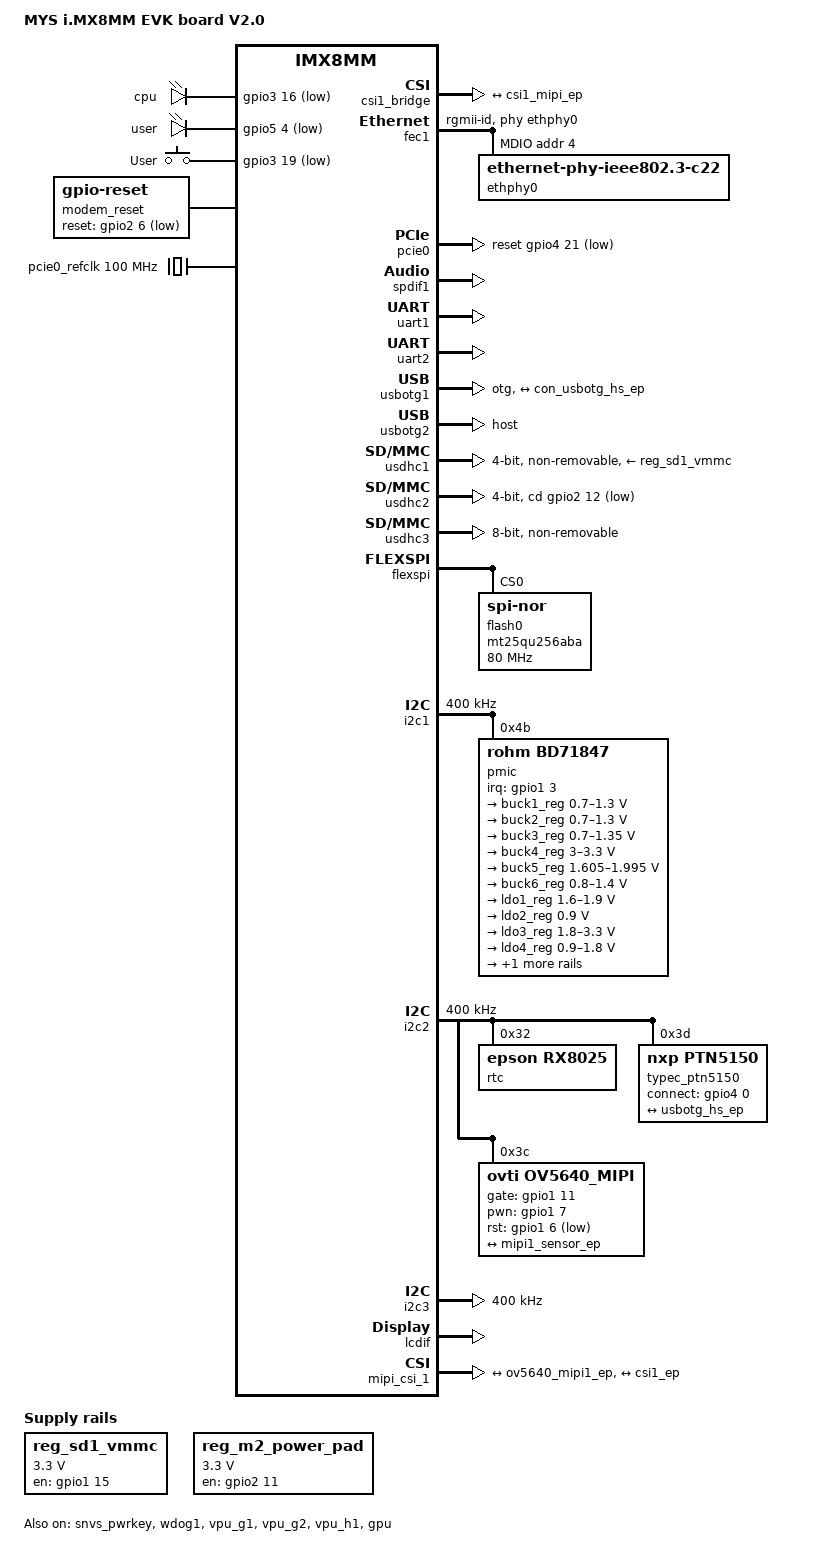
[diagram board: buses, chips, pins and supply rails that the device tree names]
// SPDX-License-Identifier: (GPL-2.0+ OR MIT)
/*
 * Copyright 2019 NXP
 */

/dts-v1/;

#include <dt-bindings/usb/pd.h>
#include "myb-imx8mm.dtsi"

/ {
	model = "MYS i.MX8MM EVK board V2.0";
	compatible = "fsl,imx8mm-evk", "fsl,imx8mm";

	reserved-memory {
		#address-cells = <2>;
		#size-cells = <2>;
		ranges;

		rpmsg_reserved: rpmsg@0xb8000000 {
			no-map;
			reg = <0 0xb8000000 0 0x400000>;
		};
	};

	chosen {
		stdout-path = &uart2;
	};

	leds {
		compatible = "gpio-leds";
		pinctrl-names = "default";
		pinctrl-0 = <&pinctrl_gpio_led>;


		led0: cpu {
			label = "cpu";
			gpios = <&gpio3 16 GPIO_ACTIVE_LOW>;
			default-state = "on";
			linux,default-trigger = "heartbeat";
		};
		
		led1: user {
			label = "user";
			gpios = <&gpio5 4 GPIO_ACTIVE_LOW>;
			default-state = "on";
		};
		
	};
	gpio-keys {
		compatible = "gpio-keys";
		pinctrl-names = "default";
		pinctrl-0 = <&pinctrl_gpio_key>;
		
		user {
			label = "User";
			gpios = <&gpio3 19 GPIO_ACTIVE_LOW>;
			gpio-key,wakeup;
			linux,code = <KEY_1>;
		};
	
	};
	modem_reset: modem-reset {
		compatible = "gpio-reset";
		reset-gpios = <&gpio2 6 GPIO_ACTIVE_LOW>;
		reset-delay-us = <2000>;
		reset-post-delay-ms = <40>;
		#reset-cells = <0>;
	};

	pcie0_refclk: pcie0-refclk {
		compatible = "fixed-clock";
		#clock-cells = <0>;
		clock-frequency = <100000000>;
	};

	reg_sd1_vmmc: sd1_regulator {
		compatible = "regulator-fixed";
		regulator-name = "WLAN_EN";
		regulator-min-microvolt = <3300000>;
		regulator-max-microvolt = <3300000>;
		gpio = <&gpio1 15 GPIO_ACTIVE_HIGH>;
		off-on-delay-us = <20000>;
		startup-delay-us = <100>;
		enable-active-high;
	};

	regulators {
	compatible = "simple-bus";
	#address-cells = <1>;
	#size-cells = <0>;
	

		reg_m2_power_pad: regulator-m2-power-pad {
			compatible = "regulator-fixed";
			regulator-name = "M2_POWER_PAD";
			regulator-min-microvolt = <3300000>;
			regulator-max-microvolt = <3300000>;
			enable-active-high;
			startup-delay-us = <70000>;
			gpio = <&gpio2 11 GPIO_ACTIVE_HIGH>;
			regulator-always-on;
			regulator-boot-on;
		};
		
	};

	sound-spdif {
		compatible = "fsl,imx-audio-spdif";
		model = "imx-spdif";
		spdif-controller = <&spdif1>;
		spdif-out;
	};

};

&A53_0 {
	cpu-supply = <&buck2_reg>;
};

&csi1_bridge {
	fsl,mipi-mode;
	status = "okay";
	port {
		csi1_ep: endpoint {
			remote-endpoint = <&csi1_mipi_ep>;
		};
	};
};

&fec1 {
	pinctrl-names = "default";
	pinctrl-0 = <&pinctrl_fec1>;
	phy-mode = "rgmii-id";
	phy-handle = <&ethphy0>;
	fsl,magic-packet;
	status = "okay";
	
	mdio {
		#address-cells = <1>;
		#size-cells = <0>;

		ethphy0: ethernet-phy@0 {
			compatible = "ethernet-phy-ieee802.3-c22";
			reg = <4>;
			at803x,eee-disabled;
			at803x,vddio-1p8v;
		};
	};
};

&pcie0{
	pinctrl-names = "default";
	pinctrl-0 = <&pinctrl_pcie0>;
	disable-gpio = <&gpio2 20 GPIO_ACTIVE_LOW>;
	reset-gpio = <&gpio4 21 GPIO_ACTIVE_LOW>;
	clocks = <&clk IMX8MM_CLK_PCIE1_ROOT>,
		 <&clk IMX8MM_CLK_PCIE1_AUX>,
		 <&clk IMX8MM_CLK_PCIE1_PHY>,
		 <&pcie0_refclk>;
	clock-names = "pcie", "pcie_aux", "pcie_phy", "pcie_bus";
	ext_osc = <0>;

	status = "okay";
};

&sai3 {
	pinctrl-names = "default";
	/*pinctrl-0 = <&pinctrl_sai3>;*/
	assigned-clocks = <&clk IMX8MM_CLK_SAI3>;
	assigned-clock-parents = <&clk IMX8MM_AUDIO_PLL1_OUT>;
	assigned-clock-rates = <24576000>;
	status = "disabled";
};

&sai1 {
	pinctrl-names = "default", "dsd";
	pinctrl-0 = <&pinctrl_sai1>;
	pinctrl-1 = <&pinctrl_sai1_dsd>;
	assigned-clocks = <&clk IMX8MM_CLK_SAI1>;
	assigned-clock-parents = <&clk IMX8MM_AUDIO_PLL1_OUT>;
	assigned-clock-rates = <49152000>;
	clocks = <&clk IMX8MM_CLK_SAI1_IPG>, <&clk IMX8MM_CLK_DUMMY>,
		<&clk IMX8MM_CLK_SAI1_ROOT>, <&clk IMX8MM_CLK_DUMMY>,
		<&clk IMX8MM_CLK_DUMMY>, <&clk IMX8MM_AUDIO_PLL1_OUT>,
		<&clk IMX8MM_AUDIO_PLL2_OUT>;
	clock-names = "bus", "mclk0", "mclk1", "mclk2", "mclk3", "pll8k", "pll11k";
	fsl,sai-multi-lane;
	fsl,dataline,dsd = <0 0xff 0xff 2 0xff 0x11>;
	dmas = <&sdma2 0 25 0>, <&sdma2 1 25 0>;
	status = "disabled";
};

&sai5 {
	pinctrl-names = "default";
/*	pinctrl-0 = <&pinctrl_sai5>; */
	assigned-clocks = <&clk IMX8MM_CLK_SAI5>;
	assigned-clock-parents = <&clk IMX8MM_AUDIO_PLL1_OUT>;
	assigned-clock-rates = <49152000>;
	clocks = <&clk IMX8MM_CLK_SAI5_IPG>, <&clk IMX8MM_CLK_DUMMY>,
		<&clk IMX8MM_CLK_SAI5_ROOT>, <&clk IMX8MM_CLK_DUMMY>,
		<&clk IMX8MM_CLK_DUMMY>, <&clk IMX8MM_AUDIO_PLL1_OUT>,
		<&clk IMX8MM_AUDIO_PLL2_OUT>;
	clock-names = "bus", "mclk0", "mclk1", "mclk2", "mclk3", "pll8k", "pll11k";
	fsl,sai-asynchronous;
	status = "disabled";
};

&spdif1 {
	pinctrl-names = "default";
	pinctrl-0 = <&pinctrl_spdif1>; 
	assigned-clocks = <&clk IMX8MM_CLK_SPDIF1>;
	assigned-clock-parents = <&clk IMX8MM_AUDIO_PLL1_OUT>;
	assigned-clock-rates = <24576000>;
	clocks = <&clk IMX8MM_CLK_AUDIO_AHB>, <&clk IMX8MM_CLK_24M>,
		<&clk IMX8MM_CLK_SPDIF1>, <&clk IMX8MM_CLK_DUMMY>,
		<&clk IMX8MM_CLK_DUMMY>, <&clk IMX8MM_CLK_DUMMY>,
		<&clk IMX8MM_CLK_AUDIO_AHB>, <&clk IMX8MM_CLK_DUMMY>,
		<&clk IMX8MM_CLK_DUMMY>, <&clk IMX8MM_CLK_DUMMY>,
		<&clk IMX8MM_AUDIO_PLL1_OUT>, <&clk IMX8MM_AUDIO_PLL2_OUT>;
	clock-names = "core", "rxtx0", "rxtx1", "rxtx2", "rxtx3",
		"rxtx4", "rxtx5", "rxtx6", "rxtx7", "spba", "pll8k", "pll11k";
	status = "okay";
};

&micfil {
	pinctrl-names = "default";
/*	pinctrl-0 = <&pinctrl_pdm>; */
	assigned-clocks = <&clk IMX8MM_CLK_PDM>;
	assigned-clock-parents = <&clk IMX8MM_AUDIO_PLL1_OUT>;
	assigned-clock-rates = <196608000>;
	status = "disabled";
};

&snvs_pwrkey {
	status = "okay";
};

&uart1 { /* BT */
	pinctrl-names = "default";
	pinctrl-0 = <&pinctrl_uart1>;
	assigned-clocks = <&clk IMX8MM_CLK_UART1>;
	assigned-clock-parents = <&clk IMX8MM_SYS_PLL1_80M>;
	fsl,uart-has-rtscts;
	resets = <&modem_reset>;
	status = "okay";
};

&uart2 { /* console */
	pinctrl-names = "default";
	pinctrl-0 = <&pinctrl_uart2>;
	status = "okay";
};

&uart3 {
	pinctrl-names = "default";
/*	pinctrl-0 = <&pinctrl_uart3>;  */
	assigned-clocks = <&clk IMX8MM_CLK_UART3>;
	assigned-clock-parents = <&clk IMX8MM_SYS_PLL1_80M>;
	fsl,uart-has-rtscts;
	status = "disabled";
};

&usbotg1 {
	dr_mode = "otg";
	hnp-disable;
	srp-disable;
	adp-disable;
	usb-role-switch;
	picophy,pre-emp-curr-control = <3>;
	picophy,dc-vol-level-adjust = <7>;
	status = "okay";

	port {
		usbotg_hs_ep: endpoint {
			remote-endpoint = <&con_usbotg_hs_ep>;
		};
	};
};
&usbotg2 {
	dr_mode = "host";
	disable-over-current; 
	status = "okay";
};
&usdhc1 {
	pinctrl-names = "default", "state_100mhz", "state_200mhz";
	pinctrl-0 = <&pinctrl_usdhc1>;
	pinctrl-1 = <&pinctrl_usdhc1_100mhz>;
	pinctrl-2 = <&pinctrl_usdhc1_200mhz>;
	bus-width = <4>;
	vmmc-supply = <&reg_sd1_vmmc>;
	pm-ignore-notify;
	keep-power-in-suspend;
	non-removable;
	wifi-host;
	status = "okay";
};

&usdhc2 {
	pinctrl-names = "default", "state_100mhz", "state_200mhz";
	pinctrl-0 = <&pinctrl_usdhc2>, <&pinctrl_usdhc2_gpio>;
	pinctrl-1 = <&pinctrl_usdhc2_100mhz>, <&pinctrl_usdhc2_gpio>;
	pinctrl-2 = <&pinctrl_usdhc2_200mhz>, <&pinctrl_usdhc2_gpio>;
	cd-gpios = <&gpio2 12 GPIO_ACTIVE_LOW>;
	bus-width = <4>;
	status = "okay";
};

&usdhc3 {
	pinctrl-names = "default", "state_100mhz", "state_200mhz";
	pinctrl-0 = <&pinctrl_usdhc3>;
	pinctrl-1 = <&pinctrl_usdhc3_100mhz>;
	pinctrl-2 = <&pinctrl_usdhc3_200mhz>;
	bus-width = <8>;
	non-removable;
	status = "okay";
};

&wdog1 {
	pinctrl-names = "default";
	pinctrl-0 = <&pinctrl_wdog>;
	fsl,ext-reset-output;
	status = "okay";
};

&flexspi {
	pinctrl-names = "default";
	pinctrl-0 = <&pinctrl_flexspi0>;
	status = "okay";

	flash0: mt25qu256aba@0 {
		reg = <0>;
		#address-cells = <1>;
		#size-cells = <1>;
		compatible = "jedec,spi-nor";
		spi-max-frequency = <80000000>;
		spi-tx-bus-width = <4>;
		spi-rx-bus-width = <4>;
	};
};

&i2c1 {
	clock-frequency = <400000>;
	pinctrl-names = "default";
	pinctrl-0 = <&pinctrl_i2c1>;
	status = "okay";

	pmic@4b {
		compatible = "rohm,bd71847";
		reg = <0x4b>;
		pinctrl-0 = <&pinctrl_pmic>;
		interrupt-parent = <&gpio1>;
		interrupts = <3 GPIO_ACTIVE_LOW>;
		rohm,reset-snvs-powered;

		regulators {
			buck1_reg: BUCK1 {
				regulator-name = "BUCK1";
				regulator-min-microvolt = <700000>;
				regulator-max-microvolt = <1300000>;
				regulator-boot-on;
				regulator-always-on;
				regulator-ramp-delay = <1250>;
			};

			buck2_reg: BUCK2 {
				regulator-name = "BUCK2";
				regulator-min-microvolt = <700000>;
				regulator-max-microvolt = <1300000>;
				regulator-boot-on;
				regulator-always-on;
				regulator-ramp-delay = <1250>;
				rohm,dvs-run-voltage = <1000000>;
				rohm,dvs-idle-voltage = <900000>;
			};

			buck3_reg: BUCK3 {
				// BUCK5 in datasheet
				regulator-name = "BUCK3";
				regulator-min-microvolt = <700000>;
				regulator-max-microvolt = <1350000>;
				regulator-boot-on;
				regulator-always-on;
			};

			buck4_reg: BUCK4 {
				// BUCK6 in datasheet
				regulator-name = "BUCK4";
				regulator-min-microvolt = <3000000>;
				regulator-max-microvolt = <3300000>;
				regulator-boot-on;
				regulator-always-on;
			};

			buck5_reg: BUCK5 {
				// BUCK7 in datasheet
				regulator-name = "BUCK5";
				regulator-min-microvolt = <1605000>;
				regulator-max-microvolt = <1995000>;
				regulator-boot-on;
				regulator-always-on;
			};

			buck6_reg: BUCK6 {
				// BUCK8 in datasheet
				regulator-name = "BUCK6";
				regulator-min-microvolt = <800000>;
				regulator-max-microvolt = <1400000>;
				regulator-boot-on;
				regulator-always-on;
			};

			ldo1_reg: LDO1 {
				regulator-name = "LDO1";
				regulator-min-microvolt = <1600000>;
				regulator-max-microvolt = <1900000>;
				regulator-boot-on;
				regulator-always-on;
			};

			ldo2_reg: LDO2 {
				regulator-name = "LDO2";
				regulator-min-microvolt = <900000>;
				regulator-max-microvolt = <900000>;
				regulator-boot-on;
				regulator-always-on;
			};

			ldo3_reg: LDO3 {
				regulator-name = "LDO3";
				regulator-min-microvolt = <1800000>;
				regulator-max-microvolt = <3300000>;
				regulator-boot-on;
				regulator-always-on;
			};

			ldo4_reg: LDO4 {
				regulator-name = "LDO4";
				regulator-min-microvolt = <900000>;
				regulator-max-microvolt = <1800000>;
				regulator-boot-on;
				regulator-always-on;
			};

			ldo6_reg: LDO6 {
				regulator-name = "LDO6";
				regulator-min-microvolt = <900000>;
				regulator-max-microvolt = <1800000>;
				regulator-boot-on;
				regulator-always-on;
			};
		};
	};
};

&i2c2 {
	clock-frequency = <400000>;
	pinctrl-names = "default";
	pinctrl-0 = <&pinctrl_i2c2>;
	status = "okay";


	rtc: rtc@32 {
		compatible = "epson,rx8025";
		reg = <0x32>;
	};


	typec_ptn5150: typec@3d {
		compatible = "nxp,ptn5150";
		pinctrl-names = "default";
		pinctrl-0 = <&pinctrl_ptn5150>;
		reg = <0x3d>;
		connect-gpios = <&gpio4 0 GPIO_ACTIVE_HIGH>;
		status = "okay";
		

		
		typec1_con: connector {
			compatible = "usb-c-connector";
			label = "USB-C";


			port {
				con_usbotg_hs_ep: endpoint {
					remote-endpoint = <&usbotg_hs_ep>;
				};
			};
			
		};
	};

	ov5640_mipi: ov5640_mipi@3c {
		compatible = "ovti,ov5640_mipi";
		reg = <0x3c>;
		status = "okay";
		pinctrl-names = "default";
		pinctrl-0 = <&pinctrl_csi_pwn>, <&pinctrl_csi_rst>;
		clocks = <&clk IMX8MM_CLK_CLKO1>;
		clock-names = "csi_mclk";
		assigned-clocks = <&clk IMX8MM_CLK_CLKO1>;
		assigned-clock-parents = <&clk IMX8MM_CLK_24M>;
		assigned-clock-rates = <24000000>;
		csi_id = <0>;
		gate-gpios = <&gpio1 11 GPIO_ACTIVE_HIGH>;
		pwn-gpios = <&gpio1 7 GPIO_ACTIVE_HIGH>;
		rst-gpios = <&gpio1 6 GPIO_ACTIVE_LOW>;
		mclk = <24000000>;
		mclk_source = <0>;
		port {
			ov5640_mipi1_ep: endpoint {
				remote-endpoint = <&mipi1_sensor_ep>;
			};
		};
	};
};

&i2c3 {
	clock-frequency = <400000>;
	pinctrl-names = "default";
	pinctrl-0 = <&pinctrl_i2c3>;
	status = "okay";




};




&iomuxc {
	pinctrl-names = "default";
	pinctrl-0 = <&pinctrl_hog>;


	pinctrl_hog: hoggrp {
			fsl,pins = <
				MX8MM_IOMUXC_GPIO1_IO09_GPIO1_IO9 0x19
			>;
	};

	pinctrl_csi_pwn: csi_pwn_grp {
		fsl,pins = <
			MX8MM_IOMUXC_GPIO1_IO07_GPIO1_IO7		0x19
				MX8MM_IOMUXC_GPIO1_IO11_GPIO1_IO11		0x19	
		>;
	};

	pinctrl_csi_rst: csi_rst_grp {
		fsl,pins = <
			MX8MM_IOMUXC_GPIO1_IO06_GPIO1_IO6		0x19
			MX8MM_IOMUXC_GPIO1_IO14_CCMSRCGPCMIX_CLKO1	0x59
		>;
	};

	pinctrl_fec1: fec1grp {
		fsl,pins = <
			MX8MM_IOMUXC_ENET_MDC_ENET1_MDC			0x3
			MX8MM_IOMUXC_ENET_MDIO_ENET1_MDIO		0x3
			MX8MM_IOMUXC_ENET_TD3_ENET1_RGMII_TD3		0x1f
			MX8MM_IOMUXC_ENET_TD2_ENET1_RGMII_TD2		0x1f
			MX8MM_IOMUXC_ENET_TD1_ENET1_RGMII_TD1		0x1f
			MX8MM_IOMUXC_ENET_TD0_ENET1_RGMII_TD0		0x1f
			MX8MM_IOMUXC_ENET_RD3_ENET1_RGMII_RD3		0x91
			MX8MM_IOMUXC_ENET_RD2_ENET1_RGMII_RD2		0x91
			MX8MM_IOMUXC_ENET_RD1_ENET1_RGMII_RD1		0x91
			MX8MM_IOMUXC_ENET_RD0_ENET1_RGMII_RD0		0x91
			MX8MM_IOMUXC_ENET_TXC_ENET1_RGMII_TXC		0x1f
			MX8MM_IOMUXC_ENET_RXC_ENET1_RGMII_RXC		0x91
			MX8MM_IOMUXC_ENET_RX_CTL_ENET1_RGMII_RX_CTL	0x91
			MX8MM_IOMUXC_ENET_TX_CTL_ENET1_RGMII_TX_CTL	0x1f
			MX8MM_IOMUXC_SAI2_RXC_GPIO4_IO22		0x19
		>;
	};

	pinctrl_flexspi0: flexspi0grp {
		fsl,pins = <
			MX8MM_IOMUXC_NAND_ALE_QSPI_A_SCLK               0x1c2
			MX8MM_IOMUXC_NAND_CE0_B_QSPI_A_SS0_B            0x82
			MX8MM_IOMUXC_NAND_DATA00_QSPI_A_DATA0           0x82
			MX8MM_IOMUXC_NAND_DATA01_QSPI_A_DATA1           0x82
			MX8MM_IOMUXC_NAND_DATA02_QSPI_A_DATA2           0x82
			MX8MM_IOMUXC_NAND_DATA03_QSPI_A_DATA3           0x82
		>;
	};

	pinctrl_gpio_led: gpioledgrp {
		fsl,pins = <
				MX8MM_IOMUXC_SPDIF_RX_GPIO5_IO4            0x00000116
				MX8MM_IOMUXC_NAND_READY_B_GPIO3_IO16       0x00000116
		>;
	};
		pinctrl_gpio_key: keygrp {
	     fsl,pins = <
					MX8MM_IOMUXC_SAI5_RXFS_GPIO3_IO19          0x116
	     >;
    };

	pinctrl_i2c1: i2c1grp {
		fsl,pins = <
			MX8MM_IOMUXC_I2C1_SCL_I2C1_SCL			0x400001c3
			MX8MM_IOMUXC_I2C1_SDA_I2C1_SDA			0x400001c3
		>;
	};

	pinctrl_i2c2: i2c2grp {
		fsl,pins = <
			MX8MM_IOMUXC_I2C2_SCL_I2C2_SCL			0x400001c3
			MX8MM_IOMUXC_I2C2_SDA_I2C2_SDA			0x400001c3
		>;
	};

	pinctrl_i2c3: i2c3grp {
		fsl,pins = <
			MX8MM_IOMUXC_I2C3_SCL_I2C3_SCL			0x400001c3
			MX8MM_IOMUXC_I2C3_SDA_I2C3_SDA			0x400001c3
		>;
	};

		pinctrl_pcie0: pcie0grp {
			fsl,pins = <
				MX8MM_IOMUXC_I2C4_SCL_PCIE1_CLKREQ_B	0x61 /* open drain, pull up */
				MX8MM_IOMUXC_GPIO1_IO00_ANAMIX_REF_CLK_32K      0x141
				MX8MM_IOMUXC_SD2_WP_GPIO2_IO20	0x41
				MX8MM_IOMUXC_SAI2_RXFS_GPIO4_IO21	0x41
			>;
		};

	pinctrl_pmic: pmicirq {
		fsl,pins = <
			MX8MM_IOMUXC_GPIO1_IO03_GPIO1_IO3		0x41
		>;
	};





	pinctrl_sai1: sai1grp {
		fsl,pins = <
			MX8MM_IOMUXC_SAI1_MCLK_SAI1_MCLK	0xd6
			MX8MM_IOMUXC_SAI1_TXFS_SAI1_TX_SYNC	0xd6
			MX8MM_IOMUXC_SAI1_RXD7_SAI1_TX_SYNC	0xd6
			MX8MM_IOMUXC_SAI1_TXC_SAI1_TX_BCLK	0xd6
			MX8MM_IOMUXC_SAI1_TXD0_SAI1_TX_DATA0	0xd6
			MX8MM_IOMUXC_SAI1_TXD1_SAI1_TX_DATA1	0xd6
			MX8MM_IOMUXC_SAI1_TXD2_SAI1_TX_DATA2	0xd6
			MX8MM_IOMUXC_SAI1_TXD3_SAI1_TX_DATA3	0xd6
			MX8MM_IOMUXC_SAI1_TXD4_SAI1_TX_DATA4	0xd6
			MX8MM_IOMUXC_SAI1_TXD5_SAI1_TX_DATA5	0xd6
			MX8MM_IOMUXC_SAI1_TXD6_SAI1_TX_DATA6	0xd6
			MX8MM_IOMUXC_SAI1_TXD7_SAI1_TX_DATA7	0xd6
		>;
	};

	pinctrl_sai1_dsd: sai1grp_dsd {
		fsl,pins = <
			MX8MM_IOMUXC_SAI1_MCLK_SAI1_MCLK	0xd6
			MX8MM_IOMUXC_SAI1_TXFS_SAI1_TX_SYNC	0xd6
			MX8MM_IOMUXC_SAI1_RXD7_SAI1_TX_DATA4	0xd6
			MX8MM_IOMUXC_SAI1_TXC_SAI1_TX_BCLK	0xd6
			MX8MM_IOMUXC_SAI1_TXD0_SAI1_TX_DATA0	0xd6
			MX8MM_IOMUXC_SAI1_TXD1_SAI1_TX_DATA1	0xd6
			MX8MM_IOMUXC_SAI1_TXD2_SAI1_TX_DATA2	0xd6
			MX8MM_IOMUXC_SAI1_TXD3_SAI1_TX_DATA3	0xd6
			MX8MM_IOMUXC_SAI1_TXD4_SAI1_TX_DATA4	0xd6
			MX8MM_IOMUXC_SAI1_TXD5_SAI1_TX_DATA5	0xd6
			MX8MM_IOMUXC_SAI1_TXD6_SAI1_TX_DATA6	0xd6
			MX8MM_IOMUXC_SAI1_TXD7_SAI1_TX_DATA7	0xd6
		>;
	};

		pinctrl_sai3: sai3grp {
			fsl,pins = <
				MX8MM_IOMUXC_SAI3_TXFS_SAI3_TX_SYNC     0xd6
				MX8MM_IOMUXC_SAI3_TXC_SAI3_TX_BCLK      0xd6
				MX8MM_IOMUXC_SAI3_MCLK_SAI3_MCLK        0xd6
			/*	MX8MM_IOMUXC_SAI3_TXD_SAI3_TX_DATA0     0xd6 */
			  MX8MM_IOMUXC_SAI3_RXD_SAI3_RX_DATA0     0xd6
			>;
		};



	pinctrl_uart1: uart1grp {
		fsl,pins = <
			MX8MM_IOMUXC_UART1_RXD_UART1_DCE_RX	0x140
			MX8MM_IOMUXC_UART1_TXD_UART1_DCE_TX	0x140
			MX8MM_IOMUXC_UART3_RXD_UART1_DCE_CTS_B	0x140
			MX8MM_IOMUXC_UART3_TXD_UART1_DCE_RTS_B	0x140
			MX8MM_IOMUXC_SD1_DATA4_GPIO2_IO6	0x19
		>;
	};

	pinctrl_uart2: uart2grp {
		fsl,pins = <
			MX8MM_IOMUXC_UART2_RXD_UART2_DCE_RX	0x140
			MX8MM_IOMUXC_UART2_TXD_UART2_DCE_TX	0x140
		>;
	};



	pinctrl_usdhc1_gpio: usdhc1grpgpio {
		fsl,pins = <
			MX8MM_IOMUXC_SD1_RESET_B_GPIO2_IO10	0x41
		>;
	};

	pinctrl_usdhc1: usdhc1grp {
		fsl,pins = <
			MX8MM_IOMUXC_SD1_CLK_USDHC1_CLK		0x190
			MX8MM_IOMUXC_SD1_CMD_USDHC1_CMD		0x1d0
			MX8MM_IOMUXC_SD1_DATA0_USDHC1_DATA0	0x1d0
			MX8MM_IOMUXC_SD1_DATA1_USDHC1_DATA1	0x1d0
			MX8MM_IOMUXC_SD1_DATA2_USDHC1_DATA2	0x1d0
			MX8MM_IOMUXC_SD1_DATA3_USDHC1_DATA3	0x1d0
		>;
	};

	pinctrl_usdhc1_100mhz: usdhc1grp100mhz {
		fsl,pins = <
			MX8MM_IOMUXC_SD1_CLK_USDHC1_CLK		0x194
			MX8MM_IOMUXC_SD1_CMD_USDHC1_CMD		0x1d4
			MX8MM_IOMUXC_SD1_DATA0_USDHC1_DATA0	0x1d4
			MX8MM_IOMUXC_SD1_DATA1_USDHC1_DATA1	0x1d4
			MX8MM_IOMUXC_SD1_DATA2_USDHC1_DATA2	0x1d4
			MX8MM_IOMUXC_SD1_DATA3_USDHC1_DATA3	0x1d4
		>;
	};

	pinctrl_usdhc1_200mhz: usdhc1grp200mhz {
		fsl,pins = <
			MX8MM_IOMUXC_SD1_CLK_USDHC1_CLK		0x196
			MX8MM_IOMUXC_SD1_CMD_USDHC1_CMD		0x1d6
			MX8MM_IOMUXC_SD1_DATA0_USDHC1_DATA0	0x1d6
			MX8MM_IOMUXC_SD1_DATA1_USDHC1_DATA1	0x1d6
			MX8MM_IOMUXC_SD1_DATA2_USDHC1_DATA2	0x1d6
			MX8MM_IOMUXC_SD1_DATA3_USDHC1_DATA3	0x1d6
		>;
	};

	pinctrl_usdhc2_gpio: usdhc2grpgpio {
		fsl,pins = <
			MX8MM_IOMUXC_SD2_RESET_B_GPIO2_IO19	0x1c4
		>;
	};

	pinctrl_usdhc2: usdhc2grp {
		fsl,pins = <
			MX8MM_IOMUXC_SD2_CLK_USDHC2_CLK		0x190
			MX8MM_IOMUXC_SD2_CMD_USDHC2_CMD		0x1d0
			MX8MM_IOMUXC_SD2_DATA0_USDHC2_DATA0	0x1d0
			MX8MM_IOMUXC_SD2_DATA1_USDHC2_DATA1	0x1d0
			MX8MM_IOMUXC_SD2_DATA2_USDHC2_DATA2	0x1d0
			MX8MM_IOMUXC_SD2_DATA3_USDHC2_DATA3	0x1d0
			MX8MM_IOMUXC_GPIO1_IO04_USDHC2_VSELECT	0x1d0
		>;
	};

	pinctrl_usdhc2_100mhz: usdhc2grp100mhz {
		fsl,pins = <
			MX8MM_IOMUXC_SD2_CLK_USDHC2_CLK		0x194
			MX8MM_IOMUXC_SD2_CMD_USDHC2_CMD		0x1d4
			MX8MM_IOMUXC_SD2_DATA0_USDHC2_DATA0	0x1d4
			MX8MM_IOMUXC_SD2_DATA1_USDHC2_DATA1	0x1d4
			MX8MM_IOMUXC_SD2_DATA2_USDHC2_DATA2	0x1d4
			MX8MM_IOMUXC_SD2_DATA3_USDHC2_DATA3	0x1d4
			MX8MM_IOMUXC_GPIO1_IO04_USDHC2_VSELECT	0x1d0
		>;
	};

	pinctrl_usdhc2_200mhz: usdhc2grp200mhz {
		fsl,pins = <
			MX8MM_IOMUXC_SD2_CLK_USDHC2_CLK		0x196
			MX8MM_IOMUXC_SD2_CMD_USDHC2_CMD		0x1d6
			MX8MM_IOMUXC_SD2_DATA0_USDHC2_DATA0	0x1d6
			MX8MM_IOMUXC_SD2_DATA1_USDHC2_DATA1	0x1d6
			MX8MM_IOMUXC_SD2_DATA2_USDHC2_DATA2	0x1d6
			MX8MM_IOMUXC_SD2_DATA3_USDHC2_DATA3	0x1d6
			MX8MM_IOMUXC_GPIO1_IO04_USDHC2_VSELECT	0x1d0
		>;
	};

	pinctrl_usdhc3: usdhc3grp {
		fsl,pins = <
			MX8MM_IOMUXC_NAND_WE_B_USDHC3_CLK		0x190
			MX8MM_IOMUXC_NAND_WP_B_USDHC3_CMD		0x1d0
			MX8MM_IOMUXC_NAND_DATA04_USDHC3_DATA0		0x1d0
			MX8MM_IOMUXC_NAND_DATA05_USDHC3_DATA1		0x1d0
			MX8MM_IOMUXC_NAND_DATA06_USDHC3_DATA2		0x1d0
			MX8MM_IOMUXC_NAND_DATA07_USDHC3_DATA3		0x1d0
			MX8MM_IOMUXC_NAND_RE_B_USDHC3_DATA4		0x1d0
			MX8MM_IOMUXC_NAND_CE2_B_USDHC3_DATA5		0x1d0
			MX8MM_IOMUXC_NAND_CE3_B_USDHC3_DATA6		0x1d0
			MX8MM_IOMUXC_NAND_CLE_USDHC3_DATA7		0x1d0
			MX8MM_IOMUXC_NAND_CE1_B_USDHC3_STROBE 		0x190
		>;
	};

	pinctrl_usdhc3_100mhz: usdhc3grp100mhz {
		fsl,pins = <
			MX8MM_IOMUXC_NAND_WE_B_USDHC3_CLK		0x194
			MX8MM_IOMUXC_NAND_WP_B_USDHC3_CMD		0x1d4
			MX8MM_IOMUXC_NAND_DATA04_USDHC3_DATA0		0x1d4
			MX8MM_IOMUXC_NAND_DATA05_USDHC3_DATA1		0x1d4
			MX8MM_IOMUXC_NAND_DATA06_USDHC3_DATA2		0x1d4
			MX8MM_IOMUXC_NAND_DATA07_USDHC3_DATA3		0x1d4
			MX8MM_IOMUXC_NAND_RE_B_USDHC3_DATA4		0x1d4
			MX8MM_IOMUXC_NAND_CE2_B_USDHC3_DATA5		0x1d4
			MX8MM_IOMUXC_NAND_CE3_B_USDHC3_DATA6		0x1d4
			MX8MM_IOMUXC_NAND_CLE_USDHC3_DATA7		0x1d4
			MX8MM_IOMUXC_NAND_CE1_B_USDHC3_STROBE 		0x194
		>;
	};

	pinctrl_usdhc3_200mhz: usdhc3grp200mhz {
		fsl,pins = <
			MX8MM_IOMUXC_NAND_WE_B_USDHC3_CLK		0x196
			MX8MM_IOMUXC_NAND_WP_B_USDHC3_CMD		0x1d6
			MX8MM_IOMUXC_NAND_DATA04_USDHC3_DATA0		0x1d6
			MX8MM_IOMUXC_NAND_DATA05_USDHC3_DATA1		0x1d6
			MX8MM_IOMUXC_NAND_DATA06_USDHC3_DATA2		0x1d6
			MX8MM_IOMUXC_NAND_DATA07_USDHC3_DATA3		0x1d6
			MX8MM_IOMUXC_NAND_RE_B_USDHC3_DATA4		0x1d6
			MX8MM_IOMUXC_NAND_CE2_B_USDHC3_DATA5		0x1d6
			MX8MM_IOMUXC_NAND_CE3_B_USDHC3_DATA6		0x1d6
			MX8MM_IOMUXC_NAND_CLE_USDHC3_DATA7		0x1d6
			MX8MM_IOMUXC_NAND_CE1_B_USDHC3_STROBE 		0x196
		>;
	};

	pinctrl_wdog: wdoggrp {
		fsl,pins = <
			MX8MM_IOMUXC_GPIO1_IO02_WDOG1_WDOG_B	0xc6
		>;
	};
	pinctrl_ptn5150: ptncgrp{
		fsl,pins = <
			MX8MM_IOMUXC_SAI1_RXFS_GPIO4_IO0		0x1d6
		>;
	};
	pinctrl_spdif1: spdif1grp {
		fsl,pins = <
			MX8MM_IOMUXC_SPDIF_TX_SPDIF1_OUT	0xd6
		>;
	};
};

&lcdif {
	status = "okay";
};

&mipi_csi_1 {
	#address-cells = <1>;
	#size-cells = <0>;
	status = "okay";
	port {
		mipi1_sensor_ep: endpoint@1 {
			remote-endpoint = <&ov5640_mipi1_ep>;
			data-lanes = <2>;
			csis-hs-settle = <13>;
			csis-clk-settle = <2>;
			csis-wclk;
		};

		csi1_mipi_ep: endpoint@2 {
			remote-endpoint = <&csi1_ep>;
		};
	};
};

&mipi_dsi {
	status = "disabled";


};

&vpu_g1 {
	status = "okay";
};

&vpu_g2 {
	status = "okay";
};

&vpu_h1 {
	status = "okay";
};

&gpu {
	status = "okay";
};
&snvs_rtc{
        status= "disabled";
};
